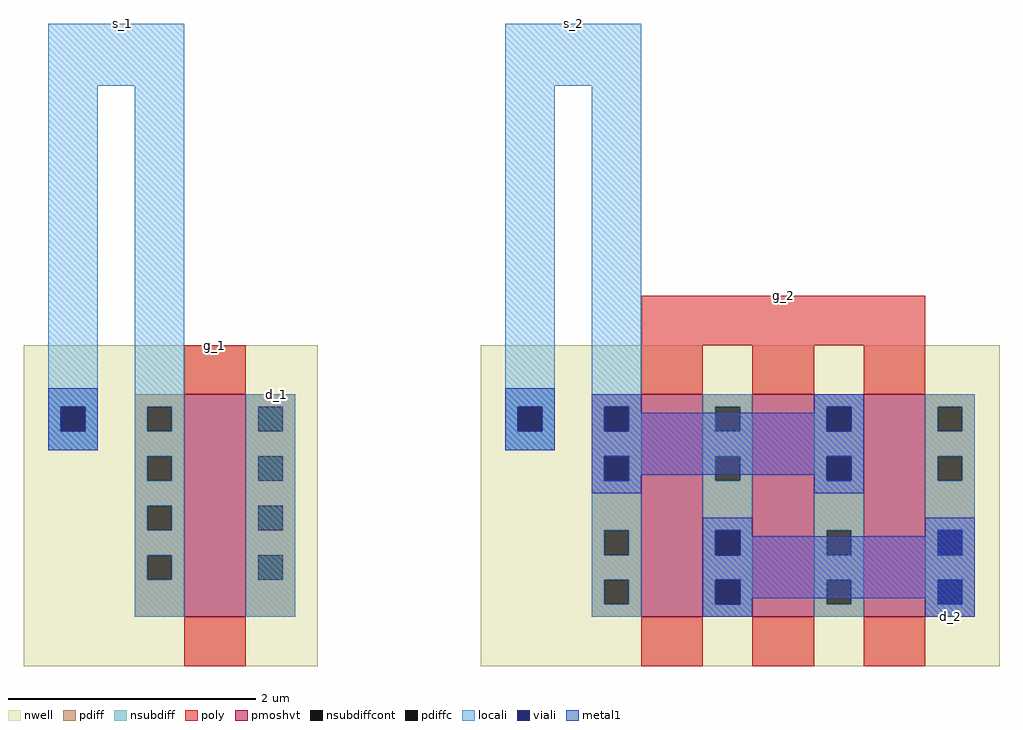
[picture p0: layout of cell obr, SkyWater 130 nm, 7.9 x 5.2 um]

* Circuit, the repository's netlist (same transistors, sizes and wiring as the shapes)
* NGSPICE file created from obr.ext - technology: sky130A

.subckt p_br1 G S D B
X0 D G S B sky130_fd_pr__pfet_01v8_hvt ad=0.72 pd=4.4 as=0.72 ps=4.4 w=1.8 l=0.5
.ends

.subckt p_br2 G S D B
X0 D G S B sky130_fd_pr__pfet_01v8_hvt ad=0.36 pd=2.2 as=0.72 ps=4.4 w=1.8 l=0.5 M=3
.ends

.subckt obr s_1 g_1 d_1 s_2 g_2 d_2
Xp_br1_0 g_1 s_1 d_1 s_1 p_br1
Xp_br2_0 g_2 s_2 d_2 s_2 p_br2
.ends

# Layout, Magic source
magic
tech sky130A
<< poly >>
rect 500 260 730 300
rect 130 220 180 260
<< locali >>
rect 20 470 130 520
rect 20 225 60 470
rect 90 220 130 470
rect 390 470 500 520
rect 390 225 430 470
rect 180 40 220 220
rect 460 210 500 470
<< metal1 >>
rect 730 40 770 120
use p_br1  p_br1_0
transform 1 0 130 0 1 40
box -130 -40 108 220
use p_br2  p_br2_0
transform 1 0 500 0 1 40
box -130 -40 290 260
<< labels >>
rlabel locali 80 520 80 520 1 s_1
port 1 n
rlabel poly 155 260 155 260 1 g_1
port 2 n
rlabel locali 205 220 205 220 1 d_1
port 3 n
rlabel locali 445 520 445 520 1 s_2
port 4 n
rlabel poly 615 300 615 300 1 g_2
port 5 n
rlabel metal1 750 40 750 40 5 d_2
port 6 s
<< end >>

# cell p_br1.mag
magic
tech sky130A
<< nwell >>
rect -130 -40 108 220
<< pmoshvt >>
rect 0 0 50 180
<< pdiff >>
rect -40 170 0 180
rect -40 150 -30 170
rect -10 150 0 170
rect -40 130 0 150
rect -40 110 -30 130
rect -10 110 0 130
rect -40 90 0 110
rect -40 70 -30 90
rect -10 70 0 90
rect -40 50 0 70
rect -40 30 -30 50
rect -10 30 0 50
rect -40 0 0 30
rect 50 170 90 180
rect 50 150 60 170
rect 80 150 90 170
rect 50 130 90 150
rect 50 110 60 130
rect 80 110 90 130
rect 50 90 90 110
rect 50 70 60 90
rect 80 70 90 90
rect 50 50 90 70
rect 50 30 60 50
rect 80 30 90 50
rect 50 0 90 30
<< pdiffc >>
rect -30 150 -10 170
rect -30 110 -10 130
rect -30 70 -10 90
rect -30 30 -10 50
rect 60 150 80 170
rect 60 110 80 130
rect 60 70 80 90
rect 60 30 80 50
<< nsubdiff >>
rect -110 170 -70 185
rect -110 150 -100 170
rect -80 150 -70 170
rect -110 135 -70 150
<< nsubdiffcont >>
rect -100 150 -80 170
<< poly >>
rect 0 180 50 220
rect 0 -40 50 0
<< locali >>
rect -110 170 -70 185
rect -110 150 -100 170
rect -80 150 -70 170
rect -110 135 -70 150
rect -40 170 0 180
rect -40 150 -30 170
rect -10 150 0 170
rect -40 130 0 150
rect -40 110 -30 130
rect -10 110 0 130
rect -40 90 0 110
rect -40 70 -30 90
rect -10 70 0 90
rect -40 50 0 70
rect -40 30 -30 50
rect -10 30 0 50
rect -40 0 0 30
rect 50 170 90 180
rect 50 150 60 170
rect 80 150 90 170
rect 50 130 90 150
rect 50 110 60 130
rect 80 110 90 130
rect 50 90 90 110
rect 50 70 60 90
rect 80 70 90 90
rect 50 50 90 70
rect 50 30 60 50
rect 80 30 90 50
rect 50 0 90 30
<< viali >>
rect -100 150 -80 170
<< metal1 >>
rect -110 170 -70 185
rect -110 150 -100 170
rect -80 150 -70 170
rect -110 135 -70 150
<< labels >>
rlabel metal1 -90 185 -90 185 1 B
port 4 n
rlabel locali -20 180 -20 180 1 S
port 2 n
rlabel locali 70 180 70 180 1 D
port 3 n
rlabel poly 25 220 25 220 1 G
port 1 n
<< end >>

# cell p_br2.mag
magic
tech sky130A
<< nwell >>
rect -130 -40 290 220
<< pmoshvt >>
rect 0 0 50 180
rect 90 0 140 180
rect 180 0 230 180
<< pdiff >>
rect -40 170 0 180
rect -40 150 -30 170
rect -10 150 0 170
rect -40 130 0 150
rect -40 110 -30 130
rect -10 110 0 130
rect -40 70 0 110
rect -40 50 -30 70
rect -10 50 0 70
rect -40 30 0 50
rect -40 10 -30 30
rect -10 10 0 30
rect -40 0 0 10
rect 50 170 90 180
rect 50 150 60 170
rect 80 150 90 170
rect 50 130 90 150
rect 50 110 60 130
rect 80 110 90 130
rect 50 70 90 110
rect 50 50 60 70
rect 80 50 90 70
rect 50 30 90 50
rect 50 10 60 30
rect 80 10 90 30
rect 50 0 90 10
rect 140 170 180 180
rect 140 150 150 170
rect 170 150 180 170
rect 140 130 180 150
rect 140 110 150 130
rect 170 110 180 130
rect 140 70 180 110
rect 140 50 150 70
rect 170 50 180 70
rect 140 30 180 50
rect 140 10 150 30
rect 170 10 180 30
rect 140 0 180 10
rect 230 170 270 180
rect 230 150 240 170
rect 260 150 270 170
rect 230 130 270 150
rect 230 110 240 130
rect 260 110 270 130
rect 230 70 270 110
rect 230 50 240 70
rect 260 50 270 70
rect 230 30 270 50
rect 230 10 240 30
rect 260 10 270 30
rect 230 0 270 10
<< pdiffc >>
rect -30 150 -10 170
rect -30 110 -10 130
rect -30 50 -10 70
rect -30 10 -10 30
rect 60 150 80 170
rect 60 110 80 130
rect 60 50 80 70
rect 60 10 80 30
rect 150 150 170 170
rect 150 110 170 130
rect 150 50 170 70
rect 150 10 170 30
rect 240 150 260 170
rect 240 110 260 130
rect 240 50 260 70
rect 240 10 260 30
<< nsubdiff >>
rect -110 170 -70 185
rect -110 150 -100 170
rect -80 150 -70 170
rect -110 135 -70 150
<< nsubdiffcont >>
rect -100 150 -80 170
<< poly >>
rect 0 220 230 260
rect 0 180 50 220
rect 90 180 140 220
rect 180 180 230 220
rect 0 -40 50 0
rect 90 -40 140 0
rect 180 -40 230 0
<< locali >>
rect -110 170 -70 185
rect -110 150 -100 170
rect -80 150 -70 170
rect -110 135 -70 150
rect -40 170 0 180
rect -40 150 -30 170
rect -10 150 0 170
rect -40 130 0 150
rect -40 110 -30 130
rect -10 110 0 130
rect -40 70 0 110
rect -40 50 -30 70
rect -10 50 0 70
rect -40 30 0 50
rect -40 10 -30 30
rect -10 10 0 30
rect -40 0 0 10
rect 50 170 90 180
rect 50 150 60 170
rect 80 150 90 170
rect 50 130 90 150
rect 50 110 60 130
rect 80 110 90 130
rect 50 70 90 110
rect 50 50 60 70
rect 80 50 90 70
rect 50 30 90 50
rect 50 10 60 30
rect 80 10 90 30
rect 50 0 90 10
rect 140 170 180 180
rect 140 150 150 170
rect 170 150 180 170
rect 140 130 180 150
rect 140 110 150 130
rect 170 110 180 130
rect 140 70 180 110
rect 140 50 150 70
rect 170 50 180 70
rect 140 30 180 50
rect 140 10 150 30
rect 170 10 180 30
rect 140 0 180 10
rect 230 170 270 180
rect 230 150 240 170
rect 260 150 270 170
rect 230 130 270 150
rect 230 110 240 130
rect 260 110 270 130
rect 230 70 270 110
rect 230 50 240 70
rect 260 50 270 70
rect 230 30 270 50
rect 230 10 240 30
rect 260 10 270 30
rect 230 0 270 10
<< viali >>
rect -100 150 -80 170
rect -30 150 -10 170
rect -30 110 -10 130
rect 60 50 80 70
rect 60 10 80 30
rect 150 150 170 170
rect 150 110 170 130
rect 240 50 260 70
rect 240 10 260 30
<< metal1 >>
rect -110 170 -70 185
rect -110 150 -100 170
rect -80 150 -70 170
rect -110 135 -70 150
rect -40 170 0 180
rect -40 150 -30 170
rect -10 165 0 170
rect 140 170 180 180
rect 140 165 150 170
rect -10 150 150 165
rect 170 150 180 170
rect -40 130 180 150
rect -40 110 -30 130
rect -10 115 150 130
rect -10 110 0 115
rect -40 100 0 110
rect 140 110 150 115
rect 170 110 180 130
rect 140 100 180 110
rect 50 70 90 80
rect 50 50 60 70
rect 80 65 90 70
rect 230 70 270 80
rect 230 65 240 70
rect 80 50 240 65
rect 260 50 270 70
rect 50 30 270 50
rect 50 10 60 30
rect 80 15 240 30
rect 80 10 90 15
rect 50 0 90 10
rect 230 10 240 15
rect 260 10 270 30
rect 230 0 270 10
<< labels >>
rlabel metal1 -90 185 -90 185 1 B
port 4 n
rlabel metal1 -20 180 -20 180 1 S
port 2 n
rlabel metal1 250 0 250 0 5 D
port 3 s
rlabel poly 120 260 120 260 1 G
port 1 n
<< end >>
